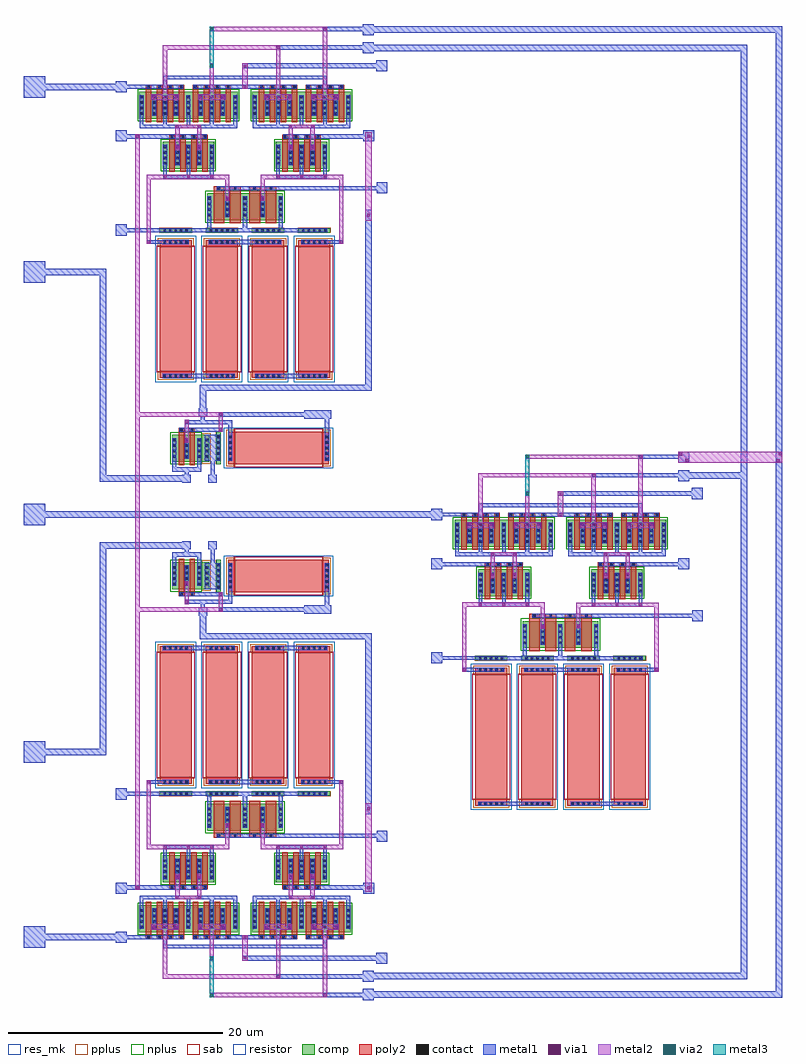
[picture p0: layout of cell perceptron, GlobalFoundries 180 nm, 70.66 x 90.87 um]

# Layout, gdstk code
from math import pi, radians
import gdstk
lib = gdstk.Library(unit=1e-6, precision=5e-09)
def R(c, l, rs):  # rectangles x0, y0, x1, y1
    for r in rs: c.add(gdstk.rectangle(r[:2], r[2:], *l))
def A(c, l, x, y, w, h, nx, ny, dx, dy):  # array of equal rectangles
    R(c, l, [(x+i*dx, y+j*dy, x+i*dx+w, y+j*dy+h) for i in range(nx) for j in range(ny)])
comp = (22, 0)
poly2 = (30, 0)
pplus = (31, 0)
nplus = (32, 0)
contact = (33, 0)
metal1 = (34, 0)
via1 = (35, 0)
metal2 = (36, 0)
via2 = (38, 0)
metal3 = (42, 0)
sab = (49, 0)
resistor = (62, 0)
res_mk = (110, 5)

via_dev = lib.new_cell('via_dev')
R(via_dev, metal1, [(0,0,0.4,0.4)])
R(via_dev, via1, [(0.07,0.07,0.33,0.33)])
R(via_dev, metal2, [(0,0,0.4,0.4)])

nfet = lib.new_cell('nfet')
R(nfet, comp, [(-0.42,0,0,2.5), (0,0,1.9,2.5), (1.9,0,2.32,2.5), (2.32,0,3.03,2.5)])
R(nfet, poly2, [(0.19,-0.3,0.69,2.8), (1.21,-0.3,1.71,2.8), (0.19,2.8,0.69,3.16), (1.21,2.8,1.71,3.16)])
R(nfet, pplus, [(2.32,-0.17,3.2,2.67)])
R(nfet, nplus, [(-0.59,-0.24,2.32,2.74)])
A(nfet, contact, -0.32, 0.375, 0.22, 0.22, 3, 4, 1.16, 0.51)
A(nfet, contact, 2.71, 0.375, 0.22, 0.22, 1, 4, 0, 0.51)
R(nfet, contact, [(0.33,2.87,0.55,3.09), (1.35,2.87,1.57,3.09)])
A(nfet, metal1, -0.4, 0.295, 0.38, 1.91, 3, 1, 1.16, 0)
R(nfet, metal1, [(2.63,0.295,3.01,2.205), (0.25,2.79,0.63,3.17), (1.27,2.79,1.65,3.17)])

ppolyf_u_high_rs_resisto = lib.new_cell('ppolyf_u_high_Rs_resistor')
R(ppolyf_u_high_rs_resisto, comp, [(-1.76,0,-1.34,3)])
R(ppolyf_u_high_rs_resisto, poly2, [(-0.64,0,8.74,3)])
R(ppolyf_u_high_rs_resisto, pplus, [(-0.82,-0.18,0,3.18), (8.1,-0.18,8.92,3.18), (-1.78,-0.02,-1.32,3.02)])
A(ppolyf_u_high_rs_resisto, contact, -1.66, 0.37, 0.22, 0.22, 1, 5, 0, 0.51)
A(ppolyf_u_high_rs_resisto, contact, -0.57, 0.37, 0.22, 0.22, 1, 5, 0, 0.51)
A(ppolyf_u_high_rs_resisto, contact, 8.45, 0.37, 0.22, 0.22, 1, 5, 0, 0.51)
R(ppolyf_u_high_rs_resisto, metal1, [(-1.74,0.29,-1.36,2.71), (-0.65,0.29,-0.27,2.71), (8.37,0.29,8.75,2.71)])
R(ppolyf_u_high_rs_resisto, sab, [(-0.1,-0.28,8.2,3.28)])
R(ppolyf_u_high_rs_resisto, resistor, [(-1.04,-0.4,9.14,3.4)])
R(ppolyf_u_high_rs_resisto, res_mk, [(0,0,8.1,3)])

cg_amp_tia = lib.new_cell('cg_amp_tia')
R(cg_amp_tia, metal1, [(3.54,-0.73,4.325,0.03), (1.135,-0.72,1.92,0.04), (3.22,1.305,4.67,3.725), (0.84,4.02,2.24,4.4), (2.24,4.02,4.9,4.4), (12.47,5.26,13.255,6.02), (14.18,5.26,14.965,6.02), (2.635,5.44,3.42,6.2)])
R(cg_amp_tia, via1, [(1.405,3.105,1.665,3.365), (4.575,4.12,4.835,4.38), (1.405,4.795,1.665,5.055), (4.575,5.52,4.835,5.78)])
R(cg_amp_tia, metal2, [(1.35,3.005,1.73,5.13), (4.52,4.02,4.9,5.865)])
cg_amp_tia.add(gdstk.FlexPath([(12.47,5.64),(4.52,5.64)], 0.45, ends="flush", simple_path=True, layer=34, datatype=0))  # metal1
cg_amp_tia.add(gdstk.FlexPath([(0.38,1.525),(0.38,0.515),(2.7,0.515),(2.7,1.525)], 0.38, ends="flush", simple_path=True, layer=34, datatype=0))  # metal1
cg_amp_tia.add(gdstk.FlexPath([(1.35,4.925),(5.57,4.925),(5.57,3.725)], 0.38, ends="flush", simple_path=True, layer=34, datatype=0))  # metal1
cg_amp_tia.add(gdstk.FlexPath([(1.525,0.325),(1.525,0.04)], 0.38, ends="flush", simple_path=True, layer=34, datatype=0))  # metal1
cg_amp_tia.add(gdstk.FlexPath([(3.945,1.305),(3.945,0.03)], 0.38, ends="flush", simple_path=True, layer=34, datatype=0))  # metal1
cg_amp_tia.add(gdstk.FlexPath([(3.03,5.115),(3.03,5.44)], 0.38, ends="flush", simple_path=True, layer=34, datatype=0))  # metal1
cg_amp_tia.add(gdstk.FlexPath([(14.59,3.725),(14.59,5.26)], 0.38, ends="flush", simple_path=True, layer=34, datatype=0))  # metal1
cg_amp_tia.add(gdstk.Reference(nfet, (0.59,1.23)))
cg_amp_tia.add(gdstk.Reference(ppolyf_u_high_rs_resisto, (6.03,1.015)))
cg_amp_tia.add(gdstk.Label('V_bias', (12.91,5.68), layer=34, texttype=10))
cg_amp_tia.add(gdstk.Label('V_out', (2.73,6.035), layer=34, texttype=10))
cg_amp_tia.add(gdstk.Label('I_in', (1.445,-0.465), layer=34, texttype=10))
cg_amp_tia.add(gdstk.Label('VSS', (3.86,-0.49), layer=34, texttype=10))
cg_amp_tia.add(gdstk.Label('V_ref', (14.44,5.57), layer=34, texttype=10))

nfet_1 = lib.new_cell('nfet$1')
R(nfet_1, comp, [(-0.42,0,0,2.5), (0,0,2.9,2.5), (2.9,0,3.32,2.5)])
R(nfet_1, poly2, [(0.19,-0.3,1.19,2.8), (1.71,-0.3,2.71,2.8), (0.19,2.8,1.19,3.16), (1.71,2.8,2.71,3.16)])
R(nfet_1, nplus, [(-0.59,-0.24,3.49,2.74)])
A(nfet_1, contact, -0.32, 0.375, 0.22, 0.22, 3, 4, 1.66, 0.51)
R(nfet_1, contact, [(0.58,2.87,0.8,3.09), (2.1,2.87,2.32,3.09)])
A(nfet_1, metal1, -0.4, 0.295, 0.38, 1.91, 3, 1, 1.66, 0)
R(nfet_1, metal1, [(0.5,2.79,0.88,3.17), (2.02,2.79,2.4,3.17)])

nfet_2 = lib.new_cell('nfet$2')
R(nfet_2, comp, [(-0.42,0,0,2.5), (0,0,3.94,2.5), (3.94,0,4.36,2.5)])
A(nfet_2, poly2, 0.19, -0.3, 0.5, 3.1, 4, 1, 1.02, 0)
A(nfet_2, poly2, 0.19, 2.8, 0.5, 0.36, 4, 1, 1.02, 0)
R(nfet_2, nplus, [(-0.59,-0.24,4.53,2.74)])
A(nfet_2, contact, -0.32, 0.375, 0.22, 0.22, 1, 4, 0, 0.51)
A(nfet_2, contact, 0.84, 0.375, 0.22, 0.22, 3, 4, 1.02, 0.51)
A(nfet_2, contact, 4.04, 0.375, 0.22, 0.22, 1, 4, 0, 0.51)
A(nfet_2, contact, 0.33, 2.87, 0.22, 0.22, 4, 1, 1.02, 0)
A(nfet_2, metal1, 0.76, 0.295, 0.38, 1.91, 3, 1, 1.02, 0)
A(nfet_2, metal1, 0.25, 2.79, 0.38, 0.38, 4, 1, 1.02, 0)
R(nfet_2, metal1, [(-0.4,0.295,-0.02,2.205), (3.96,0.295,4.34,2.205)])

c_ppolyf_u_high_rs_resisto = lib.new_cell('ppolyf_u_high_Rs_resistor$1')
R(c_ppolyf_u_high_rs_resisto, comp, [(-1.76,0,-1.34,3)])
R(c_ppolyf_u_high_rs_resisto, poly2, [(-0.64,0,12.19,3)])
R(c_ppolyf_u_high_rs_resisto, pplus, [(-0.82,-0.18,0,3.18), (11.55,-0.18,12.37,3.18), (-1.78,-0.02,-1.32,3.02)])
A(c_ppolyf_u_high_rs_resisto, contact, -1.66, 0.37, 0.22, 0.22, 1, 5, 0, 0.51)
A(c_ppolyf_u_high_rs_resisto, contact, -0.57, 0.37, 0.22, 0.22, 1, 5, 0, 0.51)
A(c_ppolyf_u_high_rs_resisto, contact, 11.9, 0.37, 0.22, 0.22, 1, 5, 0, 0.51)
R(c_ppolyf_u_high_rs_resisto, metal1, [(-1.74,0.29,-1.36,2.71), (-0.65,0.29,-0.27,2.71), (11.82,0.29,12.2,2.71)])
R(c_ppolyf_u_high_rs_resisto, sab, [(-0.1,-0.28,11.65,3.28)])
R(c_ppolyf_u_high_rs_resisto, resistor, [(-1.04,-0.4,12.59,3.4)])
R(c_ppolyf_u_high_rs_resisto, res_mk, [(0,0,11.55,3)])

gilbert_multiplier_curre = lib.new_cell('gilbert_multiplier_current')
R(gilbert_multiplier_curre, metal1, [(-5.165,-0.265,1.555,0.115), (3.435,-0.265,10.155,0.115), (-0.865,12.205,5.855,12.585), (-9.52,13,-8.495,14.035), (-5.165,13.295,10.155,13.675), (14.745,16.925,15.76,17.96), (-0.115,17.22,5.105,17.6), (-9.52,21.765,-8.495,22.8), (13.485,21.765,14.51,22.8), (-8.495,22.03,-1.05,22.415), (6.04,22.03,13.485,22.415), (-9.52,26.33,-8.495,27.365), (-6.67,26.655,-3.23,27.035), (-2.31,26.655,7.3,27.035), (8.22,26.655,11.66,27.035), (14.735,28.285,15.76,29.32), (2.255,28.59,14.735,29.025), (13.47,29.95,14.495,30.985), (5.405,30.31,13.48,30.71), (13.475,31.66,14.5,32.695), (9.745,32.02,13.485,32.42)])
R(gilbert_multiplier_curre, via1, [(-6.585,12.265,-6.325,12.525), (11.32,12.265,11.58,12.525), (0.72,16.305,0.98,16.565), (4.035,16.305,4.295,16.565), (5.46,18.315,5.72,18.575), (7.63,18.315,7.89,18.575), (9.81,18.315,10.07,18.575), (-5.07,18.33,-4.81,18.59), (-2.9,18.33,-2.64,18.59), (-0.72,18.33,-0.46,18.59), (-3.925,21.1,-3.665,21.36), (-1.88,21.1,-1.62,21.36), (6.615,21.1,6.875,21.36), (8.66,21.1,8.92,21.36), (-3.925,23.03,-3.665,23.29), (-1.88,23.03,-1.62,23.29), (6.605,23.03,6.865,23.29), (8.65,23.03,8.91,23.29), (-6.11,25.74,-5.85,26), (-4.055,25.74,-3.795,26), (-1.75,25.74,-1.49,26), (0.3,25.74,0.56,26), (4.42,25.74,4.68,26), (6.475,25.74,6.735,26), (8.78,25.74,9.04,26), (10.83,25.74,11.09,26), (2.37,26.725,2.63,26.985), (2.37,28.605,2.63,28.865), (5.46,30.39,5.72,30.65), (9.82,32.075,10.08,32.335)])
R(gilbert_multiplier_curre, metal2, [(-6.65,12.22,-6.255,17.99), (11.25,12.22,11.645,17.99), (-3.98,20.935,-3.6,23.01), (-1.94,20.935,-1.56,23.01), (6.55,20.935,6.93,23.01), (8.59,20.935,8.97,23.01), (-3.98,23.01,-1.56,23.335), (6.55,23.01,8.97,23.335), (-6.23,25.595,-3.67,26.15), (-1.87,25.595,0.69,26.15), (4.305,25.595,6.865,26.15), (8.665,25.595,11.225,26.15), (2.255,26.655,2.735,29.025)])
R(gilbert_multiplier_curre, via2, [(-0.705,28.675,-0.445,28.935), (-0.705,32.095,-0.445,32.355)])
R(gilbert_multiplier_curre, metal3, [(-0.79,28.605,-0.39,32.42)])
gilbert_multiplier_curre.add(gdstk.FlexPath([(5.105,17.41),(14.745,17.41)], 0.38, ends="flush", simple_path=True, layer=34, datatype=0))  # metal1
gilbert_multiplier_curre.add(gdstk.FlexPath([(-0.825,14.725),(-0.825,13.675)], 0.38, ends="flush", simple_path=True, layer=34, datatype=0))  # metal1
gilbert_multiplier_curre.add(gdstk.FlexPath([(-5.165,13.485),(-8.985,13.485)], 0.35, ends="flush", simple_path=True, layer=34, datatype=0))  # metal1
gilbert_multiplier_curre.add(gdstk.FlexPath([(-4.95,19.535),(-4.95,18.455),(-0.59,18.455),(-0.59,19.535)], 0.35, ends="flush", simple_path=True, layer=34, datatype=0))  # metal1
gilbert_multiplier_curre.add(gdstk.FlexPath([(-2.77,19.535),(-2.77,18.63)], 0.35, ends="flush", simple_path=True, layer=34, datatype=0))  # metal1
gilbert_multiplier_curre.add(gdstk.FlexPath([(5.58,19.535),(5.58,18.455),(9.94,18.455),(9.94,19.535)], 0.35, ends="flush", simple_path=True, layer=34, datatype=0))  # metal1
gilbert_multiplier_curre.add(gdstk.FlexPath([(7.76,19.535),(7.76,18.63)], 0.35, ends="flush", simple_path=True, layer=34, datatype=0))  # metal1
gilbert_multiplier_curre.add(gdstk.FlexPath([(-7.13,24.16),(-7.13,23.16),(1.59,23.16),(1.59,24.16),(1.59,24.16)], 0.35, ends="flush", simple_path=True, layer=34, datatype=0))  # metal1
gilbert_multiplier_curre.add(gdstk.FlexPath([(3.4,24.16),(3.4,23.16),(12.12,23.16),(12.12,24.16),(12.12,24.16)], 0.35, ends="flush", simple_path=True, layer=34, datatype=0))  # metal1
gilbert_multiplier_curre.add(gdstk.FlexPath([(-4.95,24.16),(-4.95,23.335)], 0.35, ends="flush", simple_path=True, layer=34, datatype=0))  # metal1
gilbert_multiplier_curre.add(gdstk.FlexPath([(-2.77,24.16),(-2.77,23.335)], 0.35, ends="flush", simple_path=True, layer=34, datatype=0))  # metal1
gilbert_multiplier_curre.add(gdstk.FlexPath([(-0.59,24.16),(-0.59,23.335)], 0.35, ends="flush", simple_path=True, layer=34, datatype=0))  # metal1
gilbert_multiplier_curre.add(gdstk.FlexPath([(5.58,24.16),(5.58,23.335)], 0.35, ends="flush", simple_path=True, layer=34, datatype=0))  # metal1
gilbert_multiplier_curre.add(gdstk.FlexPath([(7.76,24.16),(7.76,23.335)], 0.35, ends="flush", simple_path=True, layer=34, datatype=0))  # metal1
gilbert_multiplier_curre.add(gdstk.FlexPath([(9.94,24.16),(9.94,23.335)], 0.35, ends="flush", simple_path=True, layer=34, datatype=0))  # metal1
gilbert_multiplier_curre.add(gdstk.FlexPath([(-6.67,26.845),(-8.495,26.845)], 0.35, ends="flush", simple_path=True, layer=34, datatype=0))  # metal1
gilbert_multiplier_curre.add(gdstk.FlexPath([(9.94,27.035),(9.94,27.71),(-4.95,27.71),(-4.95,27.035)], 0.35, ends="flush", simple_path=True, layer=34, datatype=0))  # metal1
gilbert_multiplier_curre.add(gdstk.FlexPath([(10.155,12.395),(11.645,12.395)], 0.35, ends="flush", simple_path=True, layer=34, datatype=0))  # metal1
gilbert_multiplier_curre.add(gdstk.FlexPath([(2.495,14.725),(2.495,13.675)], 0.38, ends="flush", simple_path=True, layer=34, datatype=0))  # metal1
gilbert_multiplier_curre.add(gdstk.FlexPath([(5.815,14.725),(5.815,13.675)], 0.38, ends="flush", simple_path=True, layer=34, datatype=0))  # metal1
gilbert_multiplier_curre.add(gdstk.FlexPath([(-5.165,12.395),(-6.65,12.395)], 0.35, ends="flush", simple_path=True, layer=34, datatype=0))  # metal1
gilbert_multiplier_curre.add(gdstk.FlexPath([(9.945,26.15),(9.945,32.22),(-0.79,32.22)], 0.4, ends="flush", simple_path=True, layer=36, datatype=0))  # metal2
gilbert_multiplier_curre.add(gdstk.FlexPath([(-4.95,26.15),(-4.95,30.51),(5.585,30.51),(5.585,26.15)], 0.4, ends="flush", simple_path=True, layer=36, datatype=0))  # metal2
gilbert_multiplier_curre.add(gdstk.FlexPath([(-6.455,17.99),(-6.455,18.46),(0.84,18.46),(0.84,16.235)], 0.4, ends="flush", simple_path=True, layer=36, datatype=0))  # metal2
gilbert_multiplier_curre.add(gdstk.FlexPath([(11.45,17.99),(11.45,18.445),(4.155,18.445),(4.155,16.26)], 0.4, ends="flush", simple_path=True, layer=36, datatype=0))  # metal2
gilbert_multiplier_curre.add(gdstk.FlexPath([(-0.59,26.15),(-0.59,29.025)], 0.4, ends="flush", simple_path=True, layer=36, datatype=0))  # metal2
gilbert_multiplier_curre.add(gdstk.Reference(nfet_1, (-0.615,14.43)))
gilbert_multiplier_curre.add(gdstk.Reference(nfet_1, (2.705,14.43)))
gilbert_multiplier_curre.add(gdstk.Reference(nfet_2, (-4.74,19.24)))
gilbert_multiplier_curre.add(gdstk.Reference(nfet_2, (5.79,19.24)))
gilbert_multiplier_curre.add(gdstk.Reference(nfet_2, (3.61,23.865)))
gilbert_multiplier_curre.add(gdstk.Reference(nfet_2, (7.97,23.865)))
gilbert_multiplier_curre.add(gdstk.Reference(nfet_2, (-6.92,23.865)))
gilbert_multiplier_curre.add(gdstk.Reference(nfet_2, (-2.56,23.865)))
gilbert_multiplier_curre.add(gdstk.Reference(c_ppolyf_u_high_rs_resisto, (3.145,11.935), rotation=3*pi/2))
gilbert_multiplier_curre.add(gdstk.Reference(c_ppolyf_u_high_rs_resisto, (7.445,11.935), rotation=3*pi/2))
gilbert_multiplier_curre.add(gdstk.Reference(c_ppolyf_u_high_rs_resisto, (-5.455,11.935), rotation=3*pi/2))
gilbert_multiplier_curre.add(gdstk.Reference(c_ppolyf_u_high_rs_resisto, (-1.155,11.935), rotation=3*pi/2))
gilbert_multiplier_curre.add(gdstk.Label('V_tail', (15.445,17.295), layer=34, texttype=10))
gilbert_multiplier_curre.add(gdstk.Label('I_o_p', (13.985,32.175), layer=34, texttype=10))
gilbert_multiplier_curre.add(gdstk.Label('I_o_n', (13.985,30.47), layer=34, texttype=10))
gilbert_multiplier_curre.add(gdstk.Label('VSS', (-9.275,13.465), layer=34, texttype=10))
gilbert_multiplier_curre.add(gdstk.Label('V_x_p', (-9.01,22.28), layer=34, texttype=10))
gilbert_multiplier_curre.add(gdstk.Label('V_x_n', (13.995,22.28), layer=34, texttype=10))
gilbert_multiplier_curre.add(gdstk.Label('V_w_p', (-9.01,26.845), layer=34, texttype=10))
gilbert_multiplier_curre.add(gdstk.Label('V_w_n', (13.985,28.8), layer=34, texttype=10))

perceptron = lib.new_cell('perceptron')
R(perceptron, metal1, [(3.97,19.655,5.97,21.655), (3.97,36.91,5.97,38.91), (30.1,50.78,32.595,51.54), (3.97,59.01,5.97,61.01), (30.1,68.95,32.595,69.71), (3.97,81.58,5.97,83.58), (3.97,98.835,5.97,100.835)])
R(perceptron, metal2, [(64.935,64.82,74.625,65.855)])
perceptron.add(gdstk.FlexPath([(36.09,88.375),(36.09,71.815),(20.66,71.815),(20.66,69.89)], 0.6, ends="flush", simple_path=True, layer=34, datatype=0))  # metal1
perceptron.add(gdstk.FlexPath([(12.57,99.835),(5.97,99.835)], 0.6, ends="flush", simple_path=True, layer=34, datatype=0))  # metal1
perceptron.add(gdstk.FlexPath([(36.09,32.115),(36.09,48.675),(20.66,48.675),(20.66,50.6)], 0.6, ends="flush", simple_path=True, layer=34, datatype=0))  # metal1
perceptron.add(gdstk.FlexPath([(12.57,20.655),(5.97,20.655)], 0.6, ends="flush", simple_path=True, layer=34, datatype=0))  # metal1
perceptron.add(gdstk.FlexPath([(18.765,63.35),(11.365,63.35),(11.365,82.58),(5.97,82.58)], 0.6, ends="flush", simple_path=True, layer=34, datatype=0))  # metal1
perceptron.add(gdstk.FlexPath([(18.765,57.14),(11.365,57.14),(11.365,37.91),(5.97,37.91)], 0.6, ends="flush", simple_path=True, layer=34, datatype=0))  # metal1
perceptron.add(gdstk.FlexPath([(36.585,17.04),(71.055,17.04),(71.055,63.63),(65.955,63.63)], 0.6, ends="flush", simple_path=True, layer=34, datatype=0))  # metal1
perceptron.add(gdstk.FlexPath([(41.94,60.01),(5.97,60.01)], 0.6, ends="flush", simple_path=True, layer=34, datatype=0))  # metal1
perceptron.add(gdstk.FlexPath([(36.585,103.455),(71.055,103.455),(71.055,63.93)], 0.6, ends="flush", simple_path=True, layer=34, datatype=0))  # metal1
perceptron.add(gdstk.FlexPath([(36.59,105.165),(74.325,105.165),(74.325,15.33),(36.59,15.33)], 0.6, ends="flush", simple_path=True, layer=34, datatype=0))  # metal1
perceptron.add(gdstk.FlexPath([(36.09,87.375),(36.09,95.58)], 0.6, ends="flush", simple_path=True, layer=36, datatype=0))  # metal2
perceptron.add(gdstk.FlexPath([(22.15,69.33),(14.57,69.33),(14.57,95.4),(14.57,95.4)], 0.4, ends="flush", simple_path=True, layer=36, datatype=0))  # metal2
perceptron.add(gdstk.FlexPath([(36.09,33.115),(36.09,24.91)], 0.6, ends="flush", simple_path=True, layer=36, datatype=0))  # metal2
perceptron.add(gdstk.FlexPath([(22.15,51.16),(14.57,51.16),(14.57,25.09),(14.57,25.09)], 0.4, ends="flush", simple_path=True, layer=36, datatype=0))  # metal2
perceptron.add(gdstk.FlexPath([(14.57,51.36),(14.57,69.13)], 0.4, ends="flush", simple_path=True, layer=36, datatype=0))  # metal2
perceptron.add(gdstk.Reference(via_dev, (35.89,87.675)))
perceptron.add(gdstk.Reference(via_dev, (35.9,95.04)))
perceptron.add(gdstk.Reference(via_dev, (14.37,95.005)))
perceptron.add(gdstk.Reference(cg_amp_tia, (17.63,56.8), x_reflection=True))
perceptron.add(gdstk.Reference(gilbert_multiplier_curre, (22.09,47.505), x_reflection=True))
perceptron.add(gdstk.Reference(via_dev, (35.89,32.815), x_reflection=True))
perceptron.add(gdstk.Reference(via_dev, (35.9,25.45), x_reflection=True))
perceptron.add(gdstk.Reference(via_dev, (14.37,25.485), x_reflection=True))
perceptron.add(gdstk.Reference(cg_amp_tia, (17.63,63.69)))
perceptron.add(gdstk.Reference(gilbert_multiplier_curre, (22.09,72.985)))
perceptron.add(gdstk.Reference(gilbert_multiplier_curre, (51.46,33.16)))
perceptron.add(gdstk.Reference(via_dev, (64.96,65.43)))
perceptron.add(gdstk.Reference(via_dev, (65.525,64.865)))
perceptron.add(gdstk.Reference(via_dev, (74.225,65.445)))
perceptron.add(gdstk.Reference(via_dev, (74.03,64.825)))

lib.write_gds('perceptron.gds')
